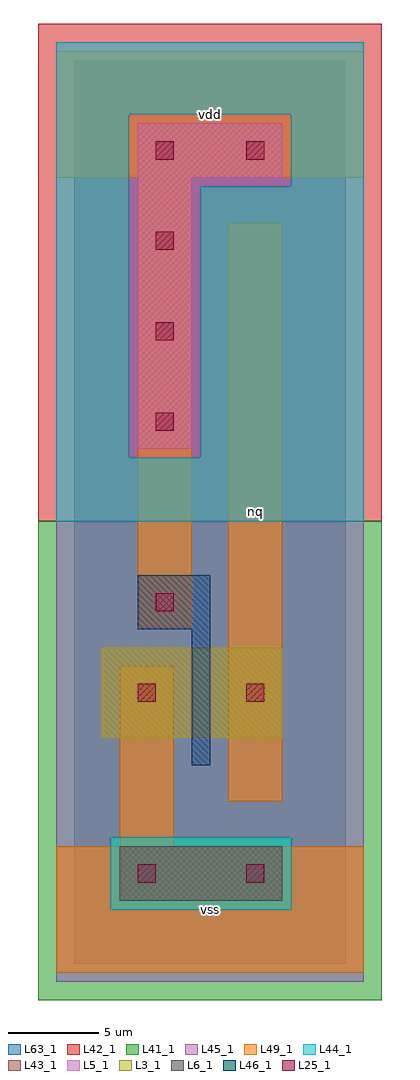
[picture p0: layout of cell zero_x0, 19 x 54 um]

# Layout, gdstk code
import gdstk
lib = gdstk.Library(unit=1e-6, precision=1e-09)
def R(c, l, rs):  # rectangles x0, y0, x1, y1
    for r in rs: c.add(gdstk.rectangle(r[:2], r[2:], *l))
def A(c, l, x, y, w, h, nx, ny, dx, dy):  # array of equal rectangles
    R(c, l, [(x+i*dx, y+j*dy, x+i*dx+w, y+j*dy+h) for i in range(nx) for j in range(ny)])
L3_1 = (3, 1)
L5_1 = (5, 1)
L6_1 = (6, 1)
L25_1 = (25, 1)
L41_1 = (41, 1)
L42_1 = (42, 1)
L43_1 = (43, 1)
L44_1 = (44, 1)
L45_1 = (45, 1)
L46_1 = (46, 1)
L49_1 = (49, 1)
L63_1 = (63, 1)

zero_x0 = lib.new_cell('zero_x0')
R(zero_x0, L3_1, [(1.5,12.5,11.5,17.5)])
R(zero_x0, L5_1, [(3.5,28.5,6.5,43.5), (3.5,43.5,11.5,46.5)])
R(zero_x0, L6_1, [(2.5,3.5,11.5,6.5)])
A(zero_x0, L25_1, 4.5, 29.5, 1, 1, 1, 4, 0, 5)
R(zero_x0, L25_1, [(3.5,4.5,4.5,5.5), (9.5,4.5,10.5,5.5), (3.5,14.5,4.5,15.5), (9.5,14.5,10.5,15.5), (4.5,19.5,5.5,20.5), (9.5,44.5,10.5,45.5)])
R(zero_x0, L41_1, [(-2,-2,17,24.5)])
R(zero_x0, L42_1, [(-2,24.5,17,52)])
R(zero_x0, L43_1, [(2.5,3.5,11.5,6.5), (1.5,12.5,11.5,17.5), (3.5,28.5,6.5,43.5), (3.5,43.5,11.5,46.5)])
R(zero_x0, L44_1, [(2,3,12,7), (-1,24.5,16,28), (-1,28,3,47), (7,28,16,43), (12,43,16,47), (-1,47,16,51)])
R(zero_x0, L45_1, [(-1,-1,16,3), (-1,3,2,7), (12,3,16,7), (-1,7,16,24.5), (3,28,7,43), (3,43,12,47)])
R(zero_x0, L46_1, [(6.5,11,7.5,18.5), (3.5,18.5,7.5,21.5)])
R(zero_x0, L49_1, [(-1,-0.5,16,6.5), (2.5,6.5,5.5,16.5), (8.5,9,11.5,41), (3.5,18.5,6.5,43.5), (-1,43.5,16,50.5)])
R(zero_x0, L63_1, [(0,0,15,50)])
zero_x0.add(gdstk.Label('vss', (7.5,3), layer=49, texttype=1))
zero_x0.add(gdstk.Label('vss', (7.5,3), layer=49, texttype=1))
zero_x0.add(gdstk.Label('vdd', (7.5,47), layer=49, texttype=1))
zero_x0.add(gdstk.Label('vdd', (7.5,47), layer=49, texttype=1))
zero_x0.add(gdstk.Label('nq', (10,25), layer=49, texttype=1))
zero_x0.add(gdstk.Label('nq', (10,25), layer=49, texttype=1))

lib.write_gds('zero_x0.gds')
